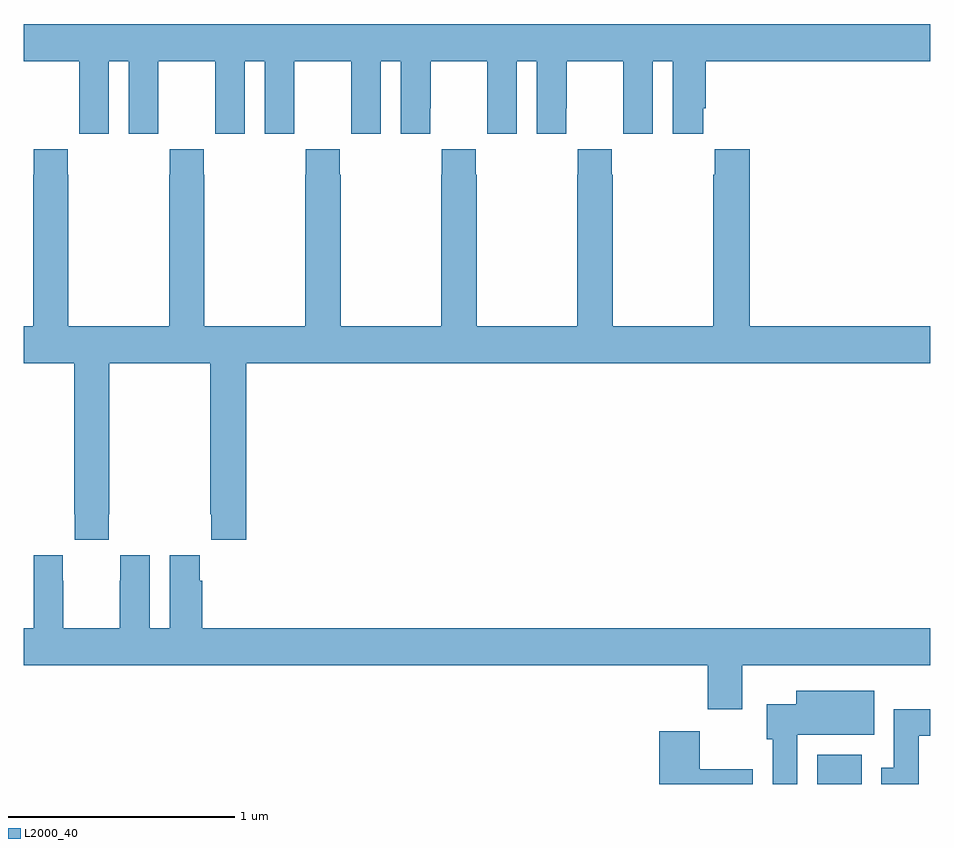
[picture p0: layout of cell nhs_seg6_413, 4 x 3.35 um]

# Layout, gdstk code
import gdstk
lib = gdstk.Library(unit=1e-6, precision=1e-09)
def R(c, l, rs):  # rectangles x0, y0, x1, y1
    for r in rs: c.add(gdstk.rectangle(r[:2], r[2:], *l))
def P(c, l, *ps):  # polygons
    for p in ps: c.add(gdstk.Polygon(p, *l))
L2000_40 = (2000, 40)

nhs_seg6_413 = lib.new_cell('nhs_seg6_413')
R(nhs_seg6_413, L2000_40, [(138.501,925.5,138.697,925.63)])
P(nhs_seg6_413, L2000_40, [(135,928.688),(135.245,928.688),(135.245,928.48),(135.246,928.48),(135.246,928.368),(135.376,928.368),(135.376,928.688),(135.464,928.688),(135.464,928.368),(135.594,928.368),(135.594,928.48),(135.595,928.48),(135.595,928.688),(135.845,928.688),(135.845,928.48),(135.846,928.48),(135.846,928.368),(135.976,928.368),(135.976,928.688),(136.064,928.688),(136.064,928.368),(136.194,928.368),(136.194,928.48),(136.195,928.48),(136.195,928.688),(136.445,928.688),(136.445,928.48),(136.446,928.48),(136.446,928.368),(136.576,928.368),(136.576,928.688),(136.664,928.688),(136.664,928.368),(136.794,928.368),(136.794,928.48),(136.795,928.48),(136.795,928.688),(137.045,928.688),(137.045,928.48),(137.046,928.48),(137.046,928.368),(137.176,928.368),(137.176,928.688),(137.264,928.688),(137.264,928.368),(137.394,928.368),(137.394,928.48),(137.395,928.48),(137.395,928.688),(137.645,928.688),(137.645,928.48),(137.646,928.48),(137.646,928.368),(137.776,928.368),(137.776,928.688),(137.864,928.688),(137.864,928.368),(137.998,928.368),(137.998,928.48),(138.008,928.48),(138.008,928.688),(139,928.688),(139,928.852),(135,928.852)],
  [(135.375,926.689),(135.378,926.689),(135.378,927.356),(135.823,927.356),(135.823,926.689),(135.829,926.689),(135.829,926.577),(135.983,926.577),(135.983,927.356),(139,927.356),(139,927.52),(138.203,927.52),(138.203,928.3),(138.049,928.3),(138.049,928.187),(138.043,928.187),(138.043,927.52),(137.598,927.52),(137.598,928.187),(137.595,928.187),(137.595,928.3),(137.445,928.3),(137.445,928.187),(137.443,928.187),(137.443,927.52),(136.998,927.52),(136.998,928.187),(136.995,928.187),(136.995,928.3),(136.845,928.3),(136.845,928.187),(136.843,928.187),(136.843,927.52),(136.398,927.52),(136.398,928.187),(136.395,928.187),(136.395,928.3),(136.245,928.3),(136.245,928.187),(136.243,928.187),(136.243,927.52),(135.798,927.52),(135.798,928.187),(135.795,928.187),(135.795,928.3),(135.645,928.3),(135.645,928.187),(135.643,928.187),(135.643,927.52),(135.198,927.52),(135.198,928.187),(135.195,928.187),(135.195,928.3),(135.045,928.3),(135.045,928.187),(135.043,928.187),(135.043,927.52),(135,927.52),(135,927.356),(135.223,927.356),(135.223,926.689),(135.225,926.689),(135.225,926.577),(135.375,926.577)],
  [(138.017,925.83),(138.169,925.83),(138.169,926.024),(139,926.024),(139,926.188),(135.788,926.188),(135.788,926.396),(135.778,926.396),(135.778,926.509),(135.644,926.509),(135.644,926.188),(135.556,926.188),(135.556,926.509),(135.426,926.509),(135.426,926.396),(135.425,926.396),(135.425,926.188),(135.175,926.188),(135.175,926.396),(135.174,926.396),(135.174,926.509),(135.044,926.509),(135.044,926.188),(135,926.188),(135,926.024),(138.017,926.024)],
  [(138.412,925.718),(138.751,925.718),(138.751,925.912),(138.407,925.912),(138.407,925.852),(138.278,925.852),(138.278,925.698),(138.305,925.698),(138.305,925.5),(138.412,925.5)],
  [(138.949,925.712),(139,925.712),(139,925.83),(138.839,925.83),(138.839,925.572),(138.782,925.572),(138.782,925.5),(138.949,925.5)],
  [(138.217,925.564),(137.982,925.564),(137.982,925.732),(137.804,925.732),(137.804,925.5),(138.217,925.5)])

lib.write_gds('nhs_seg6_413.gds')
